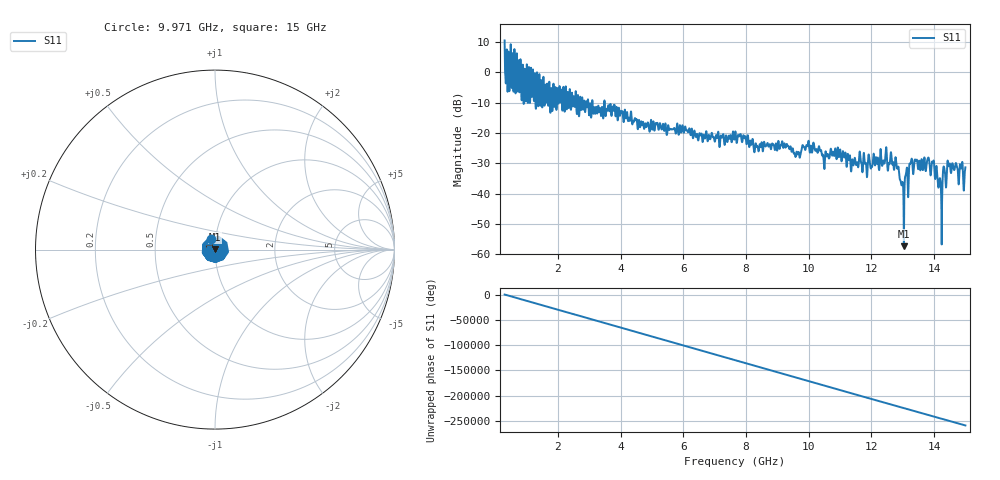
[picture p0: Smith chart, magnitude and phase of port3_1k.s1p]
# GHZ S RI R 50.0
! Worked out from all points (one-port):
!   12801 points, 300 MHz to 15 GHz, reference 50 ohm
!   lowest |S11| = -57.4 dB at 13.04 GHz (marker M1), VSWR 1.00, Z = 50.1 + j0.0725 ohm
!   |S11| at or under -10 dB: 2.968 GHz to 3.091 GHz (122.8 MHz wide, 4.05 % of centre); 3.105 GHz to 3.478 GHz (373.1 MHz wide, 11.3 % of centre); 3.492 GHz to end of sweep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
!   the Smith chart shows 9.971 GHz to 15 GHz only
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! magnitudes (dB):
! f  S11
! 300 MHz  10.5
! 397.6 MHz  -6.2
! 747.9 MHz  3.3
! 906.4 MHz  -10.3
! 1.2 GHz  0.3
! 1.309 GHz  -10.8
! 2.138 GHz  -12.4
! 3.975 GHz  -14.3
! 4.601 GHz  -16.8
! 5.812 GHz  -17.0
! 7.65 GHz  -20.3
! 8.328 GHz  -24.0
! 9.488 GHz  -25.1
! 9.948 GHz  -24.2
! 10.46 GHz  -27.5
! 10.89 GHz  -28.5
! 11.32 GHz  -28.4
! 12.63 GHz  -26.8
! 12.82 GHz  -31.7
! 12.98 GHz  -36.9
! 13.04 GHz  -57.4
! 13.16 GHz  -38.2
! 13.27 GHz  -29.1
! 13.81 GHz  -28.2
! 14.02 GHz  -34.3
! 14.19 GHz  -35.1
! 14.48 GHz  -30.9
! 15 GHz  -31.3
